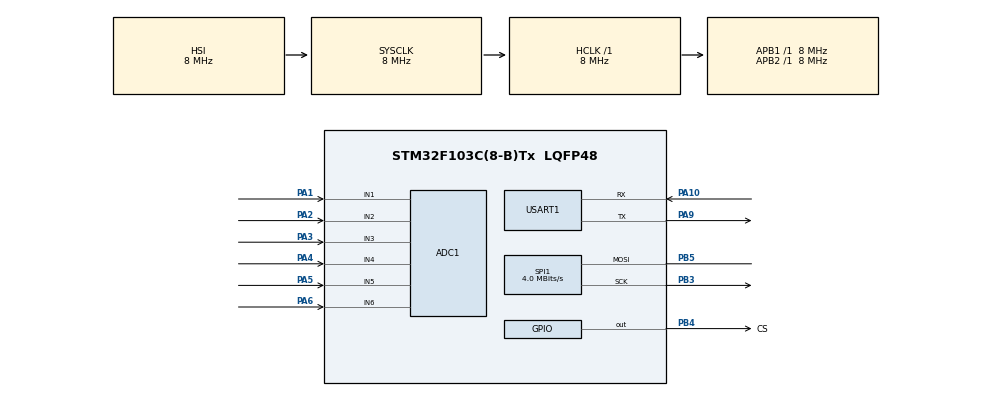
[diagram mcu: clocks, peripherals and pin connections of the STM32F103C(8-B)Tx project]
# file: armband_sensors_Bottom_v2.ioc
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ADC1.Channel-0\#ChannelRegularConversion=ADC_CHANNEL_1
ADC1.Channel-1\#ChannelRegularConversion=ADC_CHANNEL_2
ADC1.Channel-2\#ChannelRegularConversion=ADC_CHANNEL_3
ADC1.Channel-3\#ChannelRegularConversion=ADC_CHANNEL_4
ADC1.Channel-4\#ChannelRegularConversion=ADC_CHANNEL_5
ADC1.Channel-5\#ChannelRegularConversion=ADC_CHANNEL_6
ADC1.ContinuousConvMode=DISABLE
ADC1.DiscontinuousConvMode=ENABLE
ADC1.NbrOfConversion=6
ADC1.NbrOfConversionFlag=1
ADC1.Rank-0\#ChannelRegularConversion=1
ADC1.Rank-1\#ChannelRegularConversion=2
ADC1.Rank-2\#ChannelRegularConversion=3
ADC1.Rank-3\#ChannelRegularConversion=4
ADC1.Rank-4\#ChannelRegularConversion=5
ADC1.Rank-5\#ChannelRegularConversion=6
ADC1.SamplingTime-0\#ChannelRegularConversion=ADC_SAMPLETIME_239CYCLES_5
ADC1.SamplingTime-1\#ChannelRegularConversion=ADC_SAMPLETIME_239CYCLES_5
ADC1.SamplingTime-2\#ChannelRegularConversion=ADC_SAMPLETIME_239CYCLES_5
ADC1.SamplingTime-3\#ChannelRegularConversion=ADC_SAMPLETIME_239CYCLES_5
ADC1.SamplingTime-4\#ChannelRegularConversion=ADC_SAMPLETIME_239CYCLES_5
ADC1.SamplingTime-5\#ChannelRegularConversion=ADC_SAMPLETIME_239CYCLES_5
ADC1.master=1
Mcu.Family=STM32F1
Mcu.Name=STM32F103C(8-B)Tx
Mcu.Package=LQFP48
NVIC.PriorityGroup=NVIC_PRIORITYGROUP_4
NVIC.USART1_IRQn=true\:0\:0\:false\:false\:true\:true\:true
PA1.Signal=ADCx_IN1
PA10.Mode=Asynchronous
PA10.Signal=USART1_RX
PA13.Mode=Serial_Wire
PA13.Signal=SYS_JTMS-SWDIO
PA14.Mode=Serial_Wire
PA14.Signal=SYS_JTCK-SWCLK
PA2.Signal=ADCx_IN2
PA3.Signal=ADCx_IN3
PA4.Signal=ADCx_IN4
PA5.Signal=ADCx_IN5
PA6.Signal=ADCx_IN6
PA9.Mode=Asynchronous
PA9.Signal=USART1_TX
PB3.Mode=Simplex_Bidirectional_Master
PB3.Signal=SPI1_SCK
PB4.GPIO_Label=CS
PB4.Signal=GPIO_Output
PB5.Mode=Simplex_Bidirectional_Master
PB5.Signal=SPI1_MOSI
ProjectManager.HeapSize=0x200
ProjectManager.StackSize=0x400
ProjectManager.TargetToolchain=STM32CubeIDE
RCC.AHBFreq_Value=8000000
RCC.APB1Freq_Value=8000000
RCC.APB1TimFreq_Value=8000000
RCC.APB2Freq_Value=8000000
RCC.APB2TimFreq_Value=8000000
RCC.HCLKFreq_Value=8000000
RCC.PLLMUL=RCC_PLL_MUL16
RCC.SYSCLKFreq_VALUE=8000000
RCC.USBFreq_Value=64000000
SH.ADCx_IN1.0=ADC1_IN1,IN1
SH.ADCx_IN2.0=ADC1_IN2,IN2
SH.ADCx_IN3.0=ADC1_IN3,IN3
SH.ADCx_IN4.0=ADC1_IN4,IN4
SH.ADCx_IN5.0=ADC1_IN5,IN5
SH.ADCx_IN6.0=ADC1_IN6,IN6
SPI1.BaudRatePrescaler=SPI_BAUDRATEPRESCALER_2
SPI1.CalculateBaudRate=4.0 MBits/s
SPI1.Direction=SPI_DIRECTION_1LINE
SPI1.Mode=SPI_MODE_MASTER
SPI1.VirtualType=VM_MASTER
USART1.VirtualMode=VM_ASYNC
board=custom

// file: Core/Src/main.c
/* USER CODE BEGIN Header */
/**
  ******************************************************************************
  * @file           : main.c
  * @brief          : Main program body
  ******************************************************************************
  * @attention
  *
  * Copyright (c) 2022 STMicroelectronics.
  * All rights reserved.
  *
  * This software is licensed under terms that can be found in the LICENSE file
  * in the root directory of this software component.
  * If no LICENSE file comes with this software, it is provided AS-IS.
  *
  ******************************************************************************
  */
/* USER CODE END Header */
#include "main.h"

/* USER CODE BEGIN Includes */
#include <math.h>
/* USER CODE END Includes */

/* USER CODE BEGIN PD */
#define MEAS_VALUES   8 // must be the power of 2!
/* USER CODE END PD */

ADC_HandleTypeDef hadc1;

SPI_HandleTypeDef hspi1;

UART_HandleTypeDef huart1;

/* USER CODE BEGIN PV */
/* For filter */
uint8_t filter_shift = log2(MEAS_VALUES);
uint16_t adc_prev[6][MEAS_VALUES];
uint16_t adc_sum[6];
volatile uint8_t count_adc = 0;

uint16_t cycle_delay = 50; // in ms
volatile uint16_t adc_array[6] = {0,};
volatile uint8_t uart_flag = 0;
uint8_t uart_buff[10];
volatile uint8_t inf_mode = 0;
volatile uint8_t sended_flag = 0;
/* USER CODE END PV */

void SystemClock_Config(void);
static void MX_GPIO_Init(void);
static void MX_ADC1_Init(void);
static void MX_SPI1_Init(void);
static void MX_USART1_UART_Init(void);
/* USER CODE BEGIN PFP */
void potentiometer_set_int_value(uint8_t addr, uint8_t int_value);
void measuring(void);
void uart_handler(void);
void transmit_signals_to_esp32(void);
void measure_and_send_once(void);
/* USER CODE END PFP */

int main(void)
{

  /* MCU Configuration--------------------------------------------------------*/

  /* Reset of all peripherals, Initializes the Flash interface and the Systick. */
  HAL_Init();

  /* Configure the system clock */
  SystemClock_Config();

  /* Initialize all configured peripherals */
  MX_GPIO_Init();
  MX_ADC1_Init();
  MX_SPI1_Init();
  MX_USART1_UART_Init();
  /* USER CODE BEGIN 2 */
  HAL_ADCEx_Calibration_Start(&hadc1);
  /* USER CODE END 2 */

  /* Infinite loop */
  /* USER CODE BEGIN WHILE */
  HAL_UART_Receive_IT(&huart1, (uint8_t *) uart_buff, 2);
  while (1) {
	  uart_handler();
	  if (inf_mode) {
		  while (1) {
			  uart_handler();
			  measuring();
			  transmit_signals_to_esp32();
			  HAL_Delay(cycle_delay);
		  }
	  }
    /* USER CODE END WHILE */

  }
}

void SystemClock_Config(void)
{
  RCC_OscInitTypeDef RCC_OscInitStruct = {0};
  RCC_ClkInitTypeDef RCC_ClkInitStruct = {0};
  RCC_PeriphCLKInitTypeDef PeriphClkInit = {0};

  /** Initializes the RCC Oscillators according to the specified parameters
  * in the RCC_OscInitTypeDef structure.
  */
  RCC_OscInitStruct.OscillatorType = RCC_OSCILLATORTYPE_HSI;
  RCC_OscInitStruct.HSIState = RCC_HSI_ON;
  RCC_OscInitStruct.HSICalibrationValue = RCC_HSICALIBRATION_DEFAULT;
  RCC_OscInitStruct.PLL.PLLState = RCC_PLL_NONE;
  if (HAL_RCC_OscConfig(&RCC_OscInitStruct) != HAL_OK)
  {
    Error_Handler();
  }
  /** Initializes the CPU, AHB and APB buses clocks
  */
  RCC_ClkInitStruct.ClockType = RCC_CLOCKTYPE_HCLK|RCC_CLOCKTYPE_SYSCLK
                              |RCC_CLOCKTYPE_PCLK1|RCC_CLOCKTYPE_PCLK2;
  RCC_ClkInitStruct.SYSCLKSource = RCC_SYSCLKSOURCE_HSI;
  RCC_ClkInitStruct.AHBCLKDivider = RCC_SYSCLK_DIV1;
  RCC_ClkInitStruct.APB1CLKDivider = RCC_HCLK_DIV1;
  RCC_ClkInitStruct.APB2CLKDivider = RCC_HCLK_DIV1;

  if (HAL_RCC_ClockConfig(&RCC_ClkInitStruct, FLASH_LATENCY_0) != HAL_OK)
  {
    Error_Handler();
  }
  PeriphClkInit.PeriphClockSelection = RCC_PERIPHCLK_ADC;
  PeriphClkInit.AdcClockSelection = RCC_ADCPCLK2_DIV2;
  if (HAL_RCCEx_PeriphCLKConfig(&PeriphClkInit) != HAL_OK)
  {
    Error_Handler();
  }
}

static void MX_ADC1_Init(void)
{

  ADC_ChannelConfTypeDef sConfig = {0};

  /** Common config
  */
  hadc1.Instance = ADC1;
  hadc1.Init.ScanConvMode = ADC_SCAN_ENABLE;
  hadc1.Init.ContinuousConvMode = DISABLE;
  hadc1.Init.DiscontinuousConvMode = ENABLE;
  hadc1.Init.NbrOfDiscConversion = 1;
  hadc1.Init.ExternalTrigConv = ADC_SOFTWARE_START;
  hadc1.Init.DataAlign = ADC_DATAALIGN_RIGHT;
  hadc1.Init.NbrOfConversion = 6;
  if (HAL_ADC_Init(&hadc1) != HAL_OK)
  {
    Error_Handler();
  }
  /** Configure Regular Channel
  */
  sConfig.Channel = ADC_CHANNEL_1;
  sConfig.Rank = ADC_REGULAR_RANK_1;
  sConfig.SamplingTime = ADC_SAMPLETIME_239CYCLES_5;
  if (HAL_ADC_ConfigChannel(&hadc1, &sConfig) != HAL_OK)
  {
    Error_Handler();
  }
  /** Configure Regular Channel
  */
  sConfig.Channel = ADC_CHANNEL_2;
  sConfig.Rank = ADC_REGULAR_RANK_2;
  if (HAL_ADC_ConfigChannel(&hadc1, &sConfig) != HAL_OK)
  {
    Error_Handler();
  }
  /** Configure Regular Channel
  */
  sConfig.Channel = ADC_CHANNEL_3;
  sConfig.Rank = ADC_REGULAR_RANK_3;
  if (HAL_ADC_ConfigChannel(&hadc1, &sConfig) != HAL_OK)
  {
    Error_Handler();
  }
  /** Configure Regular Channel
  */
  sConfig.Channel = ADC_CHANNEL_4;
  sConfig.Rank = ADC_REGULAR_RANK_4;
  if (HAL_ADC_ConfigChannel(&hadc1, &sConfig) != HAL_OK)
  {
    Error_Handler();
  }
  /** Configure Regular Channel
  */
  sConfig.Channel = ADC_CHANNEL_5;
  sConfig.Rank = ADC_REGULAR_RANK_5;
  if (HAL_ADC_ConfigChannel(&hadc1, &sConfig) != HAL_OK)
  {
    Error_Handler();
  }
  /** Configure Regular Channel
  */
  sConfig.Channel = ADC_CHANNEL_6;
  sConfig.Rank = ADC_REGULAR_RANK_6;
  if (HAL_ADC_ConfigChannel(&hadc1, &sConfig) != HAL_OK)
  {
    Error_Handler();
  }

}

static void MX_SPI1_Init(void)
{

  /* SPI1 parameter configuration*/
  hspi1.Instance = SPI1;
  hspi1.Init.Mode = SPI_MODE_MASTER;
  hspi1.Init.Direction = SPI_DIRECTION_1LINE;
  hspi1.Init.DataSize = SPI_DATASIZE_8BIT;
  hspi1.Init.CLKPolarity = SPI_POLARITY_LOW;
  hspi1.Init.CLKPhase = SPI_PHASE_1EDGE;
  hspi1.Init.NSS = SPI_NSS_SOFT;
  hspi1.Init.BaudRatePrescaler = SPI_BAUDRATEPRESCALER_2;
  hspi1.Init.FirstBit = SPI_FIRSTBIT_MSB;
  hspi1.Init.TIMode = SPI_TIMODE_DISABLE;
  hspi1.Init.CRCCalculation = SPI_CRCCALCULATION_DISABLE;
  hspi1.Init.CRCPolynomial = 10;
  if (HAL_SPI_Init(&hspi1) != HAL_OK)
  {
    Error_Handler();
  }

}

static void MX_USART1_UART_Init(void)
{

  huart1.Instance = USART1;
  huart1.Init.BaudRate = 115200;
  huart1.Init.WordLength = UART_WORDLENGTH_8B;
  huart1.Init.StopBits = UART_STOPBITS_1;
  huart1.Init.Parity = UART_PARITY_NONE;
  huart1.Init.Mode = UART_MODE_TX_RX;
  huart1.Init.HwFlowCtl = UART_HWCONTROL_NONE;
  huart1.Init.OverSampling = UART_OVERSAMPLING_16;
  if (HAL_UART_Init(&huart1) != HAL_OK)
  {
    Error_Handler();
  }

}

static void MX_GPIO_Init(void)
{
  GPIO_InitTypeDef GPIO_InitStruct = {0};

  /* GPIO Ports Clock Enable */
  __HAL_RCC_GPIOA_CLK_ENABLE();
  __HAL_RCC_GPIOB_CLK_ENABLE();

  /*Configure GPIO pin Output Level */
  HAL_GPIO_WritePin(CS_GPIO_Port, CS_Pin, GPIO_PIN_RESET);

  /*Configure GPIO pin : CS_Pin */
  GPIO_InitStruct.Pin = CS_Pin;
  GPIO_InitStruct.Mode = GPIO_MODE_OUTPUT_PP;
  GPIO_InitStruct.Pull = GPIO_NOPULL;
  GPIO_InitStruct.Speed = GPIO_SPEED_FREQ_LOW;
  HAL_GPIO_Init(CS_GPIO_Port, &GPIO_InitStruct);

}

/* USER CODE BEGIN 4 */
void HAL_UART_RxCpltCallback(UART_HandleTypeDef *huart) {
	if (huart == &huart1) {
		uart_flag = 1;
	}
}

void potentiometer_set_int_value(uint8_t addr, uint8_t int_value) {
	HAL_GPIO_WritePin(CS_GPIO_Port, CS_Pin, 0);

	if (addr < 6) HAL_SPI_Transmit(&hspi1, &addr, 1, 100);

	if (int_value >= 0 && int_value <= 255) {
		switch (addr) {
			case 2:
			case 3:
			case 4:
				int_value = 255 - int_value;
				break;
		}
		HAL_SPI_Transmit(&hspi1, &int_value, 1, 100);
	}

	HAL_GPIO_WritePin(CS_GPIO_Port, CS_Pin, 1);
}

void measuring(void) {
	if (++count_adc >= MEAS_VALUES) count_adc = 0;

	for (uint8_t i = 0; i < 6; i++) {
		HAL_ADC_Start(&hadc1);
		HAL_ADC_PollForConversion(&hadc1, 100);
		adc_array[i] = HAL_ADC_GetValue(&hadc1);

		adc_sum[i] -= adc_prev[i][count_adc];
		adc_sum[i] += adc_array[i];
		adc_prev[i][count_adc] = adc_array[i];
		adc_array[i] = adc_sum[i] >> filter_shift;
	}
}

void uart_handler(void) {
	if (uart_flag) {
		uart_flag = 0;
		switch (uart_buff[0] & 0xF0) { // define command and it's accomplishing
			case 0xA0: // infinite mode
				inf_mode = 1;
				break;
			case 0xB0: // set value to the certain channel and send measured data once
				potentiometer_set_int_value((uart_buff[0] & 0x0F), uart_buff[1]);
				measure_and_send_once();
				break;
			case 0xC0: // send measured data once
				measure_and_send_once();
				break;
			case 0xD0: // set delay value (from 0 to 255 ms)
				cycle_delay = uart_buff[1];
				break;
			case 0xE0: // set one value to the all channels and send measured data once
				for (uint8_t i = 0; i < 6; i++) {
					switch (i) {
						case 0:
						case 1:
						case 5:
							potentiometer_set_int_value(i, uart_buff[1]);
							break;
						case 2:
						case 3:
						case 4:
							potentiometer_set_int_value(i, 255 - uart_buff[1]);
							break;
					}
				  HAL_Delay(20);
				}

				measure_and_send_once();
				break;
			case 0x00: // set value to the certain channel
				potentiometer_set_int_value(uart_buff[0], uart_buff[1]);
				break;
		}
		HAL_UART_Receive_IT(&huart1, (uint8_t *) uart_buff, 2);
	}
}

void transmit_signals_to_esp32(void) {
	uint8_t tmp_arr[13] = {
			'S',
			adc_array[0],
		    adc_array[0] >> 8,
		    adc_array[1],
		    adc_array[1] >>8,
		    adc_array[2],
		    adc_array[2] >> 8,
		    adc_array[3],
		    adc_array[3] >> 8,
		    adc_array[4],
		    adc_array[4] >> 8,
		    adc_array[5],
		    adc_array[5] >> 8,
	};
	HAL_UART_Transmit(&huart1, (uint8_t *) tmp_arr, sizeof(tmp_arr), 100);
}

void measure_and_send_once(void) {
	for (uint8_t i = 0; i < MEAS_VALUES; i++) measuring();
	transmit_signals_to_esp32();
}
/* USER CODE END 4 */

void Error_Handler(void)
{
  __disable_irq();
  while (1)
  {
  }
}
